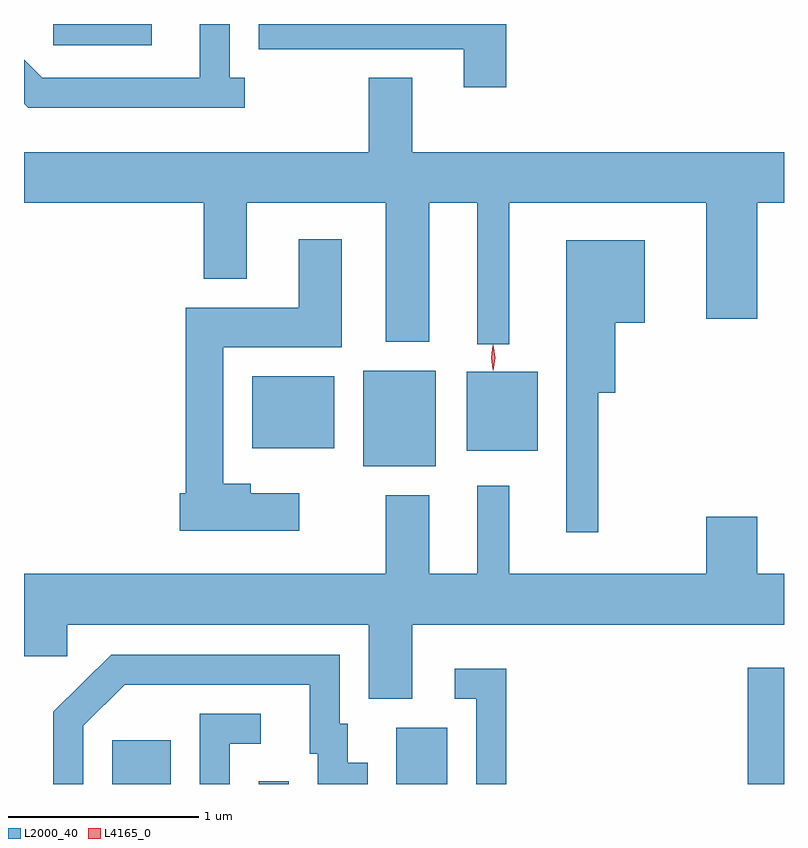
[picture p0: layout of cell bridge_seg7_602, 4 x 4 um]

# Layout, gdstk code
import gdstk
lib = gdstk.Library(unit=1e-6, precision=1e-09)
def R(c, l, rs):  # rectangles x0, y0, x1, y1
    for r in rs: c.add(gdstk.rectangle(r[:2], r[2:], *l))
def P(c, l, *ps):  # polygons
    for p in ps: c.add(gdstk.Polygon(p, *l))
L2000_40 = (2000, 40)
L4165_0 = (4165, 0)

bridge_seg7_602 = lib.new_cell('bridge_seg7_602')
R(bridge_seg7_602, L2000_40, [(811.351,1675.738,811.659,1675.969), (812.121,1675.738,812.279,1675.753), (812.846,1675.738,813.114,1676.034), (814.696,1675.738,814.886,1676.349), (812.671,1677.411,813.054,1677.914), (813.216,1677.491,813.589,1677.909), (812.086,1677.506,812.519,1677.884), (811.041,1679.626,811.558,1679.738)])
P(bridge_seg7_602, L2000_40, [(812.048,1679.454),(811.969,1679.454),(811.969,1679.738),(811.811,1679.738),(811.811,1679.454),(810.982,1679.454),(810.886,1679.55),(810.886,1679.319),(810.909,1679.296),(812.048,1679.296)],
  [(813.424,1679.738),(812.121,1679.738),(812.121,1679.606),(813.201,1679.606),(813.201,1679.406),(813.424,1679.406)],
  [(813.439,1678.796),(814.476,1678.796),(814.476,1678.186),(814.744,1678.186),(814.744,1678.796),(814.886,1678.796),(814.886,1679.064),(812.929,1679.064),(812.929,1679.454),(812.701,1679.454),(812.701,1679.064),(810.886,1679.064),(810.886,1678.796),(811.831,1678.796),(811.831,1678.396),(812.059,1678.396),(812.059,1678.796),(812.791,1678.796),(812.791,1678.066),(813.019,1678.066),(813.019,1678.796),(813.271,1678.796),(813.271,1678.053),(813.439,1678.053)],
  [(812.334,1677.269),(812.079,1677.269),(812.079,1677.319),(811.934,1677.319),(811.934,1678.036),(812.559,1678.036),(812.559,1678.604),(812.331,1678.604),(812.331,1678.244),(811.736,1678.244),(811.736,1677.269),(811.706,1677.269),(811.706,1677.071),(812.334,1677.071)],
  [(813.909,1677.796),(813.999,1677.796),(813.999,1678.166),(814.154,1678.166),(814.154,1678.599),(813.741,1678.599),(813.741,1677.063),(813.909,1677.063)],
  [(812.929,1676.576),(814.886,1676.576),(814.886,1676.844),(814.744,1676.844),(814.744,1677.144),(814.476,1677.144),(814.476,1676.844),(813.439,1676.844),(813.439,1677.308),(813.271,1677.308),(813.271,1676.844),(813.019,1676.844),(813.019,1677.259),(812.791,1677.259),(812.791,1676.844),(810.886,1676.844),(810.886,1676.411),(811.114,1676.411),(811.114,1676.576),(812.701,1676.576),(812.701,1676.186),(812.929,1676.186)],
  [(811.199,1676.044),(811.417,1676.261),(812.391,1676.261),(812.391,1675.896),(812.431,1675.896),(812.431,1675.738),(812.694,1675.738),(812.694,1675.849),(812.589,1675.849),(812.589,1676.054),(812.549,1676.054),(812.549,1676.419),(811.344,1676.419),(811.041,1676.117),(811.041,1675.738),(811.199,1675.738)],
  [(813.424,1676.344),(813.153,1676.344),(813.153,1676.186),(813.266,1676.186),(813.266,1675.738),(813.424,1675.738)],
  [(811.969,1675.951),(812.133,1675.951),(812.133,1676.109),(811.811,1676.109),(811.811,1675.738),(811.969,1675.738)])
P(bridge_seg7_602, L4165_0, [(813.355,1677.914),(813.346,1677.982),(813.355,1678.05),(813.356,1678.05),(813.356,1678.05),(813.366,1677.982),(813.356,1677.914),(813.356,1677.914)],
  [(813.354,1677.918),(813.354,1677.918),(813.344,1677.982),(813.354,1678.046),(813.354,1678.047),(813.355,1678.046),(813.364,1677.982),(813.355,1677.918)])

lib.write_gds('bridge_seg7_602.gds')
